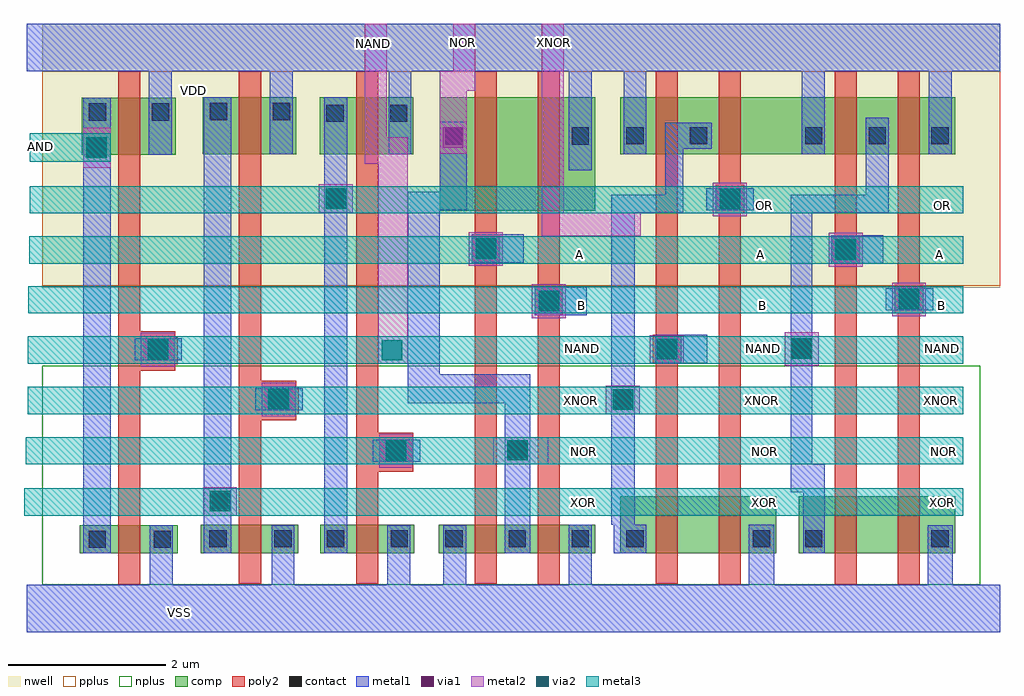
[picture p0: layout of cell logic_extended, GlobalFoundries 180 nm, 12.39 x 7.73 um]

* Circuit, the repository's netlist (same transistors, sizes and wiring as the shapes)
** sch_path: /foss/designs/engn1600-team1/CAD4/logic_extended.sch
.subckt logic_extended AND XOR OR NOR VDD VSS XNOR A B NAND
*.PININFO VSS:B VDD:B A:I B:I NAND:O NOR:O XNOR:O OR:O AND:O XOR:O
x1 VDD NAND A B VSS nand2
x3 VDD NOR OR VSS inv
x2 VDD NOR A B VSS nor2
x4 VDD XNOR NAND OR VSS nand2
x5 VDD NAND AND VSS inv
x6 VDD XNOR XOR VSS inv
.ends

* expanding   symbol:  engn1600-team1/CAD4/alu_nand2.sym # of pins=5
** sym_path: /foss/designs/engn1600-team1/CAD4/alu_nand2.sym
** sch_path: /foss/designs/engn1600-team1/CAD4/alu_nand2.sch
.subckt nand2 VDD OUT IN0 IN1 VSS
*.PININFO VSS:B VDD:B IN0:I IN1:I OUT:O
M1 net1 IN1 VSS VSS nfet_03v3 L=0.28u W=0.72u nf=1 m=1
M2 OUT IN0 net1 VSS nfet_03v3 L=0.28u W=0.72u nf=1 m=1
M3 OUT IN1 VDD VDD pfet_03v3 L=0.28u W=0.72u nf=1 m=1
M4 OUT IN0 VDD VDD pfet_03v3 L=0.28u W=0.72u nf=1 m=1
.ends


* expanding   symbol:  engn1600-team1/CAD4/alu_inv.sym # of pins=4
** sym_path: /foss/designs/engn1600-team1/CAD4/alu_inv.sym
** sch_path: /foss/designs/engn1600-team1/CAD4/alu_inv.sch
.subckt inv VDD IN OUT VSS
*.PININFO IN:I OUT:O VDD:B VSS:B
M1 OUT IN VDD VDD pfet_03v3 L=0.28u W=0.72u nf=1 m=1
M2 OUT IN VSS VSS nfet_03v3 L=0.28u W=0.36u nf=1 m=1
.ends


* expanding   symbol:  engn1600-team1/CAD4/alu_nor2.sym # of pins=5
** sym_path: /foss/designs/engn1600-team1/CAD4/alu_nor2.sym
** sch_path: /foss/designs/engn1600-team1/CAD4/alu_nor2.sch
.subckt nor2 VDD OUT IN0 IN1 VSS
*.PININFO VSS:B VDD:B IN0:I IN1:I OUT:O
M1 OUT IN0 VSS VSS nfet_03v3 L=0.28u W=0.36u nf=1 m=1
M2 OUT IN1 VSS VSS nfet_03v3 L=0.28u W=0.36u nf=1 m=1
M3 net1 IN1 VDD VDD pfet_03v3 L=0.28u W=1.44u nf=1 m=1
M4 OUT IN0 net1 VDD pfet_03v3 L=0.28u W=1.44u nf=1 m=1
.ends

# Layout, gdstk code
import gdstk
lib = gdstk.Library(unit=1e-6, precision=5e-09)
def R(c, l, rs):  # rectangles x0, y0, x1, y1
    for r in rs: c.add(gdstk.rectangle(r[:2], r[2:], *l))
nwell = (21, 0)
comp = (22, 0)
poly2 = (30, 0)
pplus = (31, 0)
nplus = (32, 0)
contact = (33, 0)
metal1 = (34, 0)
via1 = (35, 0)
metal2 = (36, 0)
via2 = (38, 0)
metal3 = (42, 0)

logic_extended = lib.new_cell('logic_extended')
R(logic_extended, nwell, [(-4.2,-1.25,7.965,2.1)])
R(logic_extended, comp, [(-3.72,-4.625,-2.48,-4.265), (-2.185,-4.62,-0.945,-4.26), (-0.665,-4.62,0.525,-4.26), (0.84,-4.62,2.825,-4.26), (3.14,-4.62,5.125,-3.9), (5.41,-4.62,7.395,-3.9), (0.85,-0.275,2.825,1.165), (-3.695,0.44,-2.505,1.16), (-2.16,0.445,-0.97,1.165), (-0.675,0.445,0.515,1.165), (3.14,0.445,5.41,1.165), (5.41,0.445,7.395,1.165)])
R(logic_extended, poly2, [(-3.235,-5.015,-2.955,1.495), (2.095,-5.015,2.375,1.5), (4.395,-5.015,4.675,1.5), (5.865,-5.015,6.145,1.5), (6.665,-5.015,6.945,1.5), (-1.7,-5.01,-1.42,1.5), (-0.21,-5.01,0.07,1.5), (1.295,-5.01,1.575,1.5), (3.595,-5.01,3.875,1.5), (0.07,-3.59,0.515,-3.09), (-1.42,-2.935,-0.975,-2.435), (-1.385,-2.855,-0.94,-2.51), (-2.955,-2.305,-2.51,-1.805), (-2.92,-2.225,-2.475,-1.88), (3.555,-2.21,3.915,-1.85), (2.055,-1.6,2.415,-1.24), (6.63,-1.575,6.99,-1.215), (6.63,-1.575,6.99,-1.215), (5.825,-0.945,6.185,-0.585), (1.255,-0.935,1.615,-0.575), (4.355,-0.305,4.715,0.055)])
R(logic_extended, pplus, [(-4.2,-1.225,7.965,1.5)])
R(logic_extended, nplus, [(-4.2,-5.02,7.715,-2.24)])
R(logic_extended, contact, [(-3.61,-4.555,-3.39,-4.335), (-2.785,-4.555,-2.565,-4.335), (-2.075,-4.55,-1.855,-4.33), (-1.25,-4.55,-1.03,-4.33), (-0.585,-4.55,-0.365,-4.33), (0.225,-4.55,0.445,-4.33), (0.92,-4.55,1.14,-4.33), (1.725,-4.55,1.945,-4.33), (2.525,-4.55,2.745,-4.33), (3.22,-4.55,3.44,-4.33), (4.825,-4.55,5.045,-4.33), (5.49,-4.55,5.71,-4.33), (7.095,-4.55,7.315,-4.33), (0.185,-3.43,0.405,-3.21), (0.185,-3.43,0.405,-3.21), (-1.305,-2.775,-1.085,-2.555), (-1.305,-2.775,-1.085,-2.555), (-2.84,-2.145,-2.62,-1.925), (-2.84,-2.145,-2.62,-1.925), (3.625,-2.14,3.845,-1.92), (2.125,-1.53,2.345,-1.31), (6.7,-1.505,6.92,-1.285), (6.7,-1.505,6.92,-1.285), (5.895,-0.875,6.115,-0.655), (1.325,-0.865,1.545,-0.645), (4.425,-0.235,4.645,-0.015), (0.92,0.565,1.14,0.785), (2.525,0.565,2.745,0.785), (3.22,0.57,3.44,0.79), (4.025,0.57,4.245,0.79), (5.49,0.57,5.71,0.79), (6.295,0.57,6.515,0.79), (7.095,0.57,7.315,0.79), (-0.59,0.855,-0.37,1.075), (0.22,0.855,0.44,1.075), (-3.605,0.87,-3.385,1.09), (-2.805,0.87,-2.585,1.09), (-2.07,0.875,-1.85,1.095), (-1.27,0.875,-1.05,1.095)])
R(logic_extended, metal1, [(-4.395,-5.625,7.965,-5.025), (0.895,-5.625,1.185,-4.27), (-2.83,-5.62,-2.54,-4.265), (-1.285,-5.62,-0.995,-4.265), (0.185,-5.62,0.475,-4.265), (7.045,-5.62,7.365,-4.265), (2.49,-5.615,2.78,-4.26), (4.775,-5.615,5.095,-4.26), (-3.68,-4.625,-3.33,1.16), (-2.145,-4.62,-1.795,1.165), (-0.615,-4.62,-0.325,1.165), (1.675,-4.62,2,-2.35), (3.06,-4.62,3.47,-4.26), (5.465,-4.62,5.74,-3.49), (3.025,-4.26,3.325,-0.07), (5.31,-3.85,5.58,-0.07), (5.33,-3.85,5.74,-3.49), (0,-3.46,0.6,-3.18), (0,-3.46,0.6,-3.18), (-1.49,-2.805,-0.89,-2.525), (-1.49,-2.805,-0.89,-2.525), (0.445,-2.715,0.85,-0.03), (0.85,-2.715,2,-2.35), (3.585,-2.21,4.245,-1.85), (-3.025,-2.175,-2.425,-1.895), (-3.025,-2.175,-2.425,-1.895), (2.055,-1.6,2.715,-1.24), (6.515,-1.535,7.115,-1.255), (6.515,-1.535,7.115,-1.255), (5.825,-0.945,6.485,-0.585), (1.255,-0.935,1.915,-0.575), (3.06,-0.3,3.945,-0.07), (3.715,-0.3,3.945,0.595), (5.33,-0.3,6.55,-0.07), (6.26,-0.295,6.55,0.91), (0.445,-0.265,1.19,-0.03), (4.235,-0.265,4.835,0.015), (0.85,-0.03,1.19,0.535), (2.49,0.24,2.78,1.58), (-2.845,0.44,-2.555,1.585), (-1.31,0.445,-1.02,1.59), (0.2,0.445,0.49,1.585), (3.185,0.445,3.475,1.58), (5.45,0.445,5.74,1.58), (7.06,0.445,7.35,1.585), (3.715,0.515,4.305,0.845), (0.85,0.535,1.19,0.855), (-4.395,1.5,7.965,2.1)])
R(logic_extended, via1, [(-2.07,-4.09,-1.81,-3.83), (0.165,-3.45,0.425,-3.19), (0.165,-3.45,0.425,-3.19), (1.71,-3.445,1.97,-3.185), (3.045,-2.8,3.305,-2.54), (-1.325,-2.795,-1.065,-2.535), (-1.325,-2.795,-1.065,-2.535), (-2.86,-2.165,-2.6,-1.905), (-2.86,-2.165,-2.6,-1.905), (3.605,-2.16,3.865,-1.9), (5.315,-2.155,5.575,-1.895), (2.105,-1.55,2.365,-1.29), (6.68,-1.525,6.94,-1.265), (6.68,-1.525,6.94,-1.265), (5.875,-0.895,6.135,-0.635), (1.305,-0.885,1.565,-0.625), (4.405,-0.255,4.665,0.005), (-0.6,-0.245,-0.34,0.015), (-3.64,0.4,-3.38,0.66), (0.89,0.525,1.15,0.785)])
R(logic_extended, metal2, [(-2.155,-4.145,-1.725,-3.785), (0.08,-3.54,0.51,-3.11), (0.08,-3.54,0.51,-3.11), (1.53,-3.495,2.225,-3.15), (-1.41,-2.885,-0.98,-2.455), (-1.41,-2.885,-0.98,-2.455), (2.96,-2.855,3.39,-2.495), (-2.945,-2.255,-2.515,-1.825), (-2.945,-2.255,-2.515,-1.825), (5.23,-2.245,5.66,-1.815), (0.07,-2.215,0.445,0.325), (3.52,-2.215,3.95,-1.855), (2.02,-1.64,2.45,-1.21), (6.595,-1.615,7.025,-1.185), (6.595,-1.615,7.025,-1.185), (5.79,-0.985,6.22,-0.555), (1.22,-0.975,1.65,-0.545), (2.145,-0.6,2.425,2.1), (2.145,-0.6,3.4,-0.3), (3.045,-0.585,3.305,-0.325), (4.32,-0.345,4.75,0.085), (-0.685,-0.3,-0.255,0.06), (-3.68,0.275,-3.33,0.78), (-0.105,0.325,0.445,0.66), (0.85,0.45,1.19,1.25), (-0.105,0.66,0.175,2.1), (0.85,1.25,1.3,1.5), (1.02,1.5,1.3,2.1)])
R(logic_extended, via2, [(-2.07,-4.09,-1.81,-3.83), (0.165,-3.45,0.425,-3.19), (0.165,-3.45,0.425,-3.19), (1.71,-3.445,1.97,-3.185), (3.045,-2.8,3.305,-2.54), (-1.325,-2.795,-1.065,-2.535), (-1.325,-2.795,-1.065,-2.535), (0.115,-2.175,0.375,-1.915), (-2.86,-2.165,-2.6,-1.905), (-2.86,-2.165,-2.6,-1.905), (3.605,-2.16,3.865,-1.9), (5.315,-2.155,5.575,-1.895), (2.105,-1.55,2.365,-1.29), (6.68,-1.525,6.94,-1.265), (6.68,-1.525,6.94,-1.265), (5.875,-0.895,6.135,-0.635), (1.305,-0.885,1.565,-0.625), (4.405,-0.255,4.665,0.005), (-0.6,-0.245,-0.34,0.015), (-3.64,0.4,-3.38,0.66)])
R(logic_extended, metal3, [(-4.43,-4.145,7.5,-3.8), (-4.405,-3.495,7.5,-3.15), (-4.385,-2.855,7.5,-2.51), (-4.38,-2.215,7.5,-1.87), (-4.375,-1.575,7.5,-1.23), (-4.365,-0.945,7.5,-0.6), (-4.36,-0.305,7.5,0.04), (-4.36,0.35,-3.33,0.71)])
logic_extended.add(gdstk.Label('AND', (-4.215,0.54), layer=42, texttype=10))
logic_extended.add(gdstk.Label('OR', (7.24,-0.21), layer=42, texttype=10))
logic_extended.add(gdstk.Label('A', (7.195,-0.825), layer=42, texttype=10))
logic_extended.add(gdstk.Label('NAND', (7.235,-2.025), layer=42, texttype=10))
logic_extended.add(gdstk.Label('XNOR', (7.205,-2.685), layer=42, texttype=10))
logic_extended.add(gdstk.Label('NOR', (7.25,-3.335), layer=42, texttype=10))
logic_extended.add(gdstk.Label('XOR', (7.24,-3.975), layer=42, texttype=10))
logic_extended.add(gdstk.Label('OR', (4.97,-0.21), layer=42, texttype=10))
logic_extended.add(gdstk.Label('A', (4.925,-0.825), layer=42, texttype=10))
logic_extended.add(gdstk.Label('B', (4.955,-1.475), layer=42, texttype=10))
logic_extended.add(gdstk.Label('NAND', (4.965,-2.025), layer=42, texttype=10))
logic_extended.add(gdstk.Label('XNOR', (4.935,-2.685), layer=42, texttype=10))
logic_extended.add(gdstk.Label('NOR', (4.98,-3.335), layer=42, texttype=10))
logic_extended.add(gdstk.Label('XOR', (4.97,-3.975), layer=42, texttype=10))
logic_extended.add(gdstk.Label('A', (2.625,-0.825), layer=42, texttype=10))
logic_extended.add(gdstk.Label('B', (2.655,-1.475), layer=42, texttype=10))
logic_extended.add(gdstk.Label('NAND', (2.665,-2.025), layer=42, texttype=10))
logic_extended.add(gdstk.Label('XNOR', (2.635,-2.685), layer=42, texttype=10))
logic_extended.add(gdstk.Label('NOR', (2.68,-3.335), layer=42, texttype=10))
logic_extended.add(gdstk.Label('XOR', (2.67,-3.975), layer=42, texttype=10))
logic_extended.add(gdstk.Label('B', (7.225,-1.475), layer=42, texttype=10))
logic_extended.add(gdstk.Label('VSS', (-2.46,-5.375), layer=34, texttype=10))
logic_extended.add(gdstk.Label('VDD', (-2.28,1.25), layer=34, texttype=10))
logic_extended.add(gdstk.Label('NAND', (0.01,1.845), layer=36, texttype=10))
logic_extended.add(gdstk.Label('XNOR', (2.295,1.86), layer=36, texttype=10))
logic_extended.add(gdstk.Label('NOR', (1.14,1.86), layer=36, texttype=10))

lib.write_gds('logic_extended.gds')
